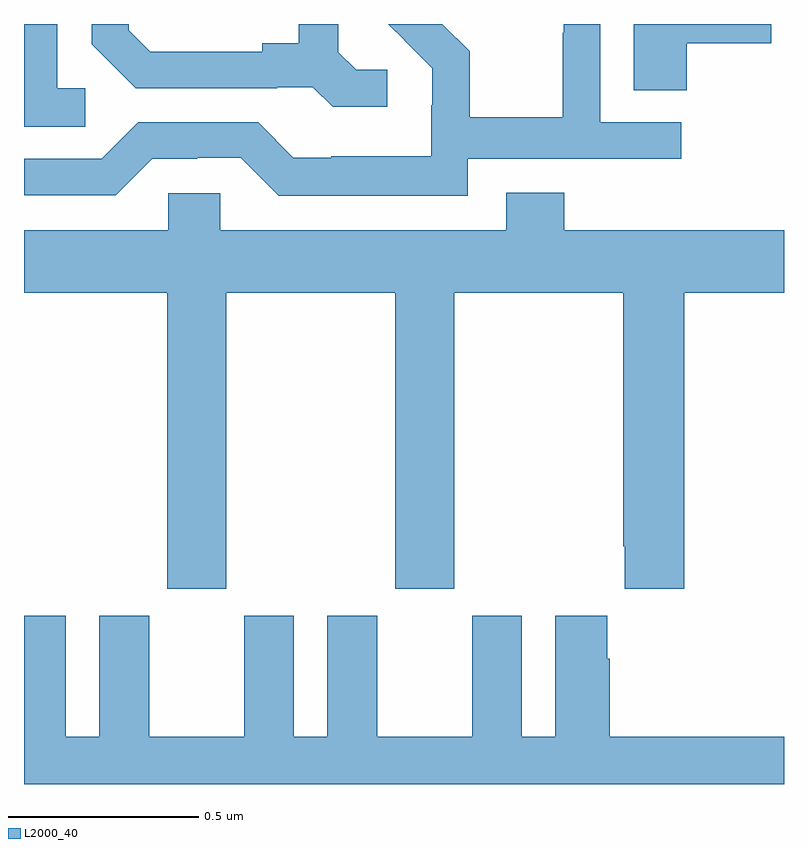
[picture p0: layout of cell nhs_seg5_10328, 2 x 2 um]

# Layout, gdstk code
import gdstk
lib = gdstk.Library(unit=1e-6, precision=1e-09)
def P(c, l, *ps):  # polygons
    for p in ps: c.add(gdstk.Polygon(p, *l))
L2000_40 = (2000, 40)

nhs_seg5_10328 = lib.new_cell('nhs_seg5_10328')
P(nhs_seg5_10328, L2000_40, [(245.956,858.678),(245.874,858.678),(245.827,858.725),(245.827,858.799),(245.723,858.799),(245.723,858.749),(245.627,858.749),(245.627,858.726),(245.332,858.726),(245.275,858.783),(245.275,858.799),(245.178,858.799),(245.178,858.746),(245.294,858.63),(245.666,858.63),(245.666,858.633),(245.76,858.633),(245.812,858.581),(245.956,858.581)],
  [(246.744,858.749),(246.967,858.749),(246.967,858.799),(246.605,858.799),(246.605,858.625),(246.744,858.625)],
  [(246.168,858.444),(246.73,858.444),(246.73,858.54),(246.516,858.54),(246.516,858.799),(246.42,858.799),(246.42,858.776),(246.418,858.776),(246.418,858.553),(246.173,858.553),(246.173,858.727),(246.101,858.799),(245.959,858.799),(246.001,858.757),(246,858.756),(246.074,858.682),(246.074,858.585),(246.072,858.585),(246.072,858.451),(245.809,858.451),(245.809,858.447),(245.709,858.447),(245.616,858.54),(245.301,858.54),(245.205,858.444),(245,858.444),(245,858.348),(245.241,858.348),(245.337,858.444),(245.456,858.444),(245.456,858.447),(245.571,858.447),(245.671,858.347),(246.168,858.347)],
  [(245.161,858.63),(245.088,858.63),(245.088,858.799),(245,858.799),(245,858.529),(245.161,858.529)],
  [(245.532,858.092),(245.977,858.092),(245.977,857.313),(246.132,857.313),(246.132,858.092),(246.577,858.092),(246.577,857.425),(246.581,857.425),(246.581,857.313),(246.737,857.313),(246.737,858.092),(247,858.092),(247,858.256),(246.422,858.256),(246.422,858.355),(246.269,858.355),(246.269,858.256),(245.517,858.256),(245.517,858.354),(245.379,858.354),(245.379,858.256),(245,858.256),(245,858.092),(245.377,858.092),(245.377,857.313),(245.532,857.313)],
  [(247,856.924),(246.542,856.924),(246.542,857.129),(246.535,857.129),(246.535,857.242),(246.398,857.242),(246.398,856.924),(246.31,856.924),(246.31,857.242),(246.179,857.242),(246.179,856.924),(245.929,856.924),(245.929,857.242),(245.798,857.242),(245.798,856.924),(245.71,856.924),(245.71,857.242),(245.579,857.242),(245.579,856.924),(245.329,856.924),(245.329,857.242),(245.198,857.242),(245.198,856.924),(245.11,856.924),(245.11,857.242),(245,857.242),(245,856.799),(247,856.799)])

lib.write_gds('nhs_seg5_10328.gds')
